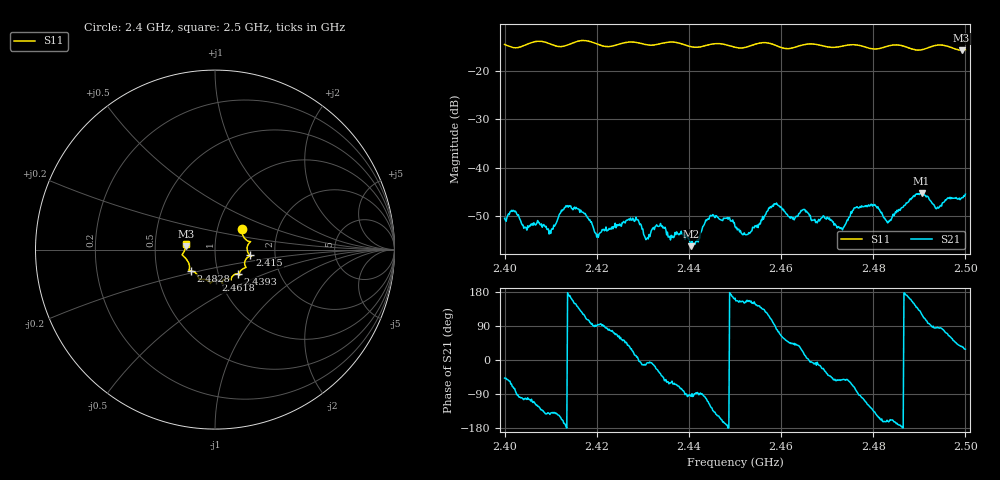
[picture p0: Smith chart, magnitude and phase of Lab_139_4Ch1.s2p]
# Hz S RI R 50
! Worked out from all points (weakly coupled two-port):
!   601 points, 2.4 GHz to 2.5 GHz, reference 50 ohm
!   highest |S21| = -45.24 dB at 2.4905 GHz (marker M1); lowest = -56.2 dB at 2.4405 GHz (marker M2)
!   lowest |S11| = -15.7 dB at 2.4992 GHz (marker M3), VSWR 1.39, Z = 36 + j1.31 ohm
!   |S11| at or under -10 dB: start of sweep to end of sweep
!   S12 and S22 are empty: the file has one direction only
!   S11 on the Smith chart (normalised r, x): 2.4 GHz: 1.31, +0.31; 2.415 GHz: 1.48, -0.10; 2.4393 GHz: 1.23, -0.35; 2.4618 GHz: 0.95, -0.34; 2.4828 GHz: 0.74, -0.18; 2.5 GHz: 0.72, +0.05
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2.4e9  0.1506 0.1132  0.00203 -0.00223  0 0  0 0
2.41e9  0.1869 0.032  -0.00161 -0.00135  0 0  0 0
2.415e9  0.1943 -0.0319  -0.00339 0.00182  0 0  0 0
2.416667e9  0.203 -0.0376  -0.00213 0.00279  0 0  0 0
2.420167e9  0.1855 -0.0402  -0.00012 0.00204  0 0  0 0
2.433333e9  0.1366 -0.1313  0.00216 -0.00121  0 0  0 0
2.439333e9  0.1254 -0.1354  1.03e-05 -0.00202  0 0  0 0
2.4405e9  0.1145 -0.1363  -0.000163 -0.00154  0 0  0 0
2.445e9  0.0889 -0.1677  -0.00191 -0.00256  0 0  0 0
2.45e9  0.0695 -0.1619  -0.00237 0.000709  0 0  0 0
2.452833e9  0.043 -0.1736  -0.00185 0.000892  0 0  0 0
2.458667e9  0.0393 -0.1815  -6.27e-05 0.00424  0 0  0 0
2.461833e9  0.0043 -0.171  0.0022 0.0022  0 0  0 0
2.466667e9  -0.0261 -0.1889  0.00283 -0.000293  0 0  0 0
2.473167e9  -0.0731 -0.1652  0.00142 -0.00186  0 0  0 0
2.479833e9  -0.1045 -0.1336  -0.00264 -0.00304  0 0  0 0
2.482833e9  -0.1345 -0.1182  -0.00273 -0.000854  0 0  0 0
2.483333e9  -0.1384 -0.1179  -0.00269 -0.000812  0 0  0 0
2.4905e9  -0.1546 -0.0606  -0.00281 0.00469  0 0  0 0
2.493833e9  -0.1823 -0.0312  0.00034 0.00382  0 0  0 0
2.499167e9  -0.1632 0.0178  0.00394 0.0029  0 0  0 0
2.5e9  -0.163 0.0328  0.0047 0.00255  0 0  0 0
